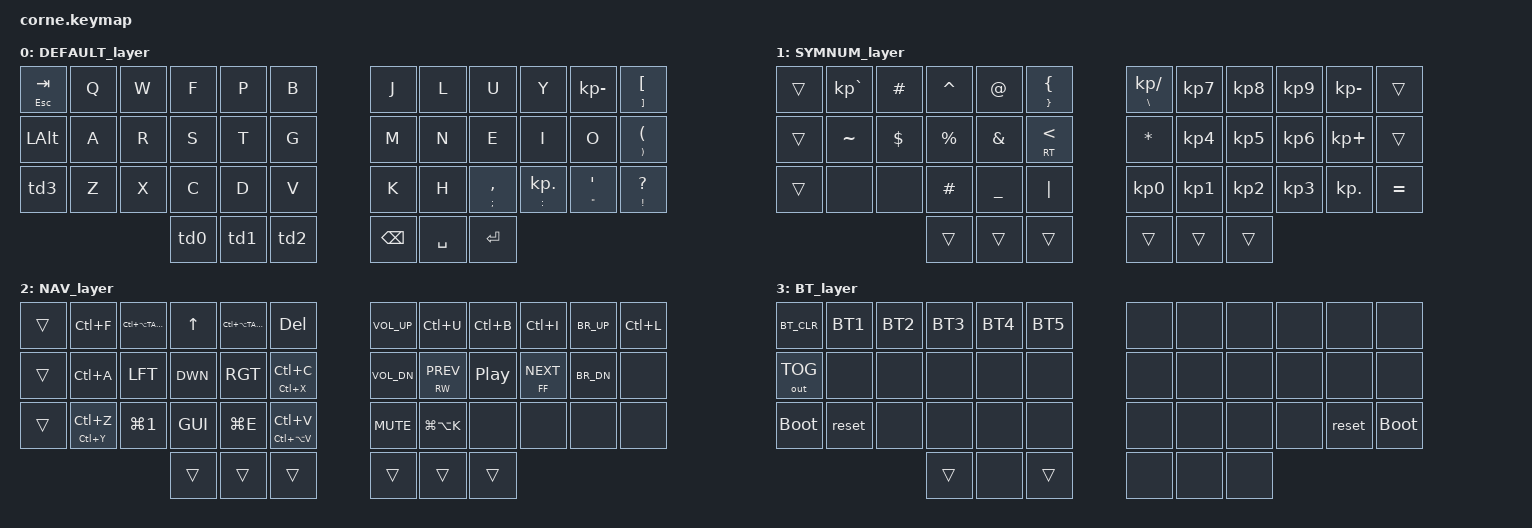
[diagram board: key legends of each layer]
/*
 * Copyright (c) 2020 The ZMK Contributors
 *
 * SPDX-License-Identifier: MIT
 */

#include <behaviors.dtsi>
#include <dt-bindings/zmk/keys.h>
#include <dt-bindings/zmk/bt.h>
#include <dt-bindings/zmk/outputs.h>

#define DEFAULT 0
#define SYMNUM  1
#define NAV     2
#define BT      3



/ {
        behaviours {
                &mt {
                    flavor = "tap-preferred";
                    //tapping_term_ms = <200>;
                };
                lsdot: leftshift_dot {
                    compatible = "zmk,behavior-mod-morph";
                    label = "LS_DOT";
                    #binding-cells = <0>;
                    bindings = <&kp DOT>, <&kp DOT>;
                    mods = <(MOD_LSFT)>;
                };
                td0: tap_dance_0 {
                    compatible = "zmk,behavior-tap-dance";
                    label = "TAP_DANCE_0";
                    #binding-cells = <0>;
                    tapping-term-ms = <200>;
                    bindings = <&mo SYMNUM>, <&tog SYMNUM>;
                };
                td1: tap_dance_1 {
                    compatible = "zmk,behavior-tap-dance";
                    label = "TAP_DANCE_1";
                    #binding-cells = <0>;
                    tapping-term-ms = <200>;
                    bindings = <&kp LSHFT>, <&kp CAPS>;
                };
                td2: tap_dance_2 {
                    compatible = "zmk,behavior-tap-dance";
                    label = "TAP_DANCE_2";
                    #binding-cells = <0>;
                    tapping-term-ms = <200>;
                    bindings = <&mo NAV>, <&tog NAV>;
                };
                td3: tap_dance_3 {
                    compatible = "zmk,behavior-tap-dance";
                    label = "TAP_DANCE_3";
                    #binding-cells = <0>;
                    tapping-term-ms = <200>;
                    bindings = <&kp CTRL>, <&kp LG(D)>;
                };
            };
        conditional_layers {
                compatible = "zmk,conditional-layers";
                BT {
                if-layers = <1 2>;
                then-layer = <3>;
                };
            };

        keymap {
                compatible = "zmk,keymap";

                DEFAULT_layer {
// -----------------------------------------------------------------------------------------
// |  TAB |  Q  |  W  |  F   |  P  |  B  |   |  J  |  L   |  U  |  Y  |  -  |  [   |
// |  ALT |  A  |  R  |  S   |  T  |  G  |   |  M  |  N   |  E  |  I  |  O  |  (   |
// | CTRL |  Z  |  X  |  C   |  D  |  V  |   |  K  |  H   |  ,  |  .  |  '  |  ?   |
//                    |SYMNUM| SHFT| NAV |   |BSPC | SPC  | ENT |
                        bindings = <
   &mt ESC TAB  &kp Q    &kp W    &kp F    &kp P    &kp B         &kp J      &kp L    &kp U             &kp Y             &kp KP_MINUS    &mt RBKT LBKT
   &kp LALT     &kp A    &kp R    &kp S    &kp T    &kp G         &kp M      &kp N    &kp E             &kp I             &kp O           &mt RPAR LPAR
   &td3         &kp Z    &kp X    &kp C    &kp D    &kp V         &kp K      &kp H    &mt SEMI COMMA    &mt COLON KP_DOT  &mt DQT SQT     &mt EXCL QMARK
                                  &td0     &td1     &td2          &kp BSPC   &kp SPC  &kp RET
                        >;
                };
                SYMNUM_layer {
// -----------------------------------------------------------------------------------------
// |  TAB |  `  |  £  |  ^  |  @  |  {  |   | /   | 7   | 8   | 9   |  -  |  [  |
// |  ALT |  ~  |  $  |  %  |  &  |  <  |   | *   | 4   | 5   | 6   |  +  |  (  |
// | CTRL |     |     |  #  |  _  | "|" |   | 0   | 1   | 2   | 3   |  .  |  =  |
//                    | NUM |SHFT | NAV |   |BCKSP| SPC | ENT |
                        bindings = <
   &trans    &kp KP_GRAVE  &kp POUND   &kp CARET  &kp AT      &mt RBRC LBRC         &mt BSLH KP_FSLH     &kp KP_N7   &kp KP_N8   &kp KP_N9    &kp KP_MINUS   &trans
   &trans    &kp TILDE     &kp DLLR    &kp PRCNT  &kp AMPS    &mt RT LT             &kp MULTIPLY         &kp KP_N4   &kp KP_N5   &kp KP_N6    &kp KP_PLUS    &trans
   &trans    &none         &none       &kp HASH   &kp UNDER   &kp PIPE              &kp KP_N0            &kp KP_N1   &kp KP_N2   &kp KP_N3    &kp KP_DOT     &kp EQUAL
                                       &trans     &trans      &trans                &trans               &trans      &trans
                        >;
                };
                NAV_layer {
// -----------------------------------------------------------------------------------------
// | TAB  |FIND |PRVAPP| UP   |NXTAPP|DEL  |   |VOL+ |LC+U |LC+B |LC+I| BR+ |LOCK|
// | CTRL |ALL  |LEFT  | DOWN |RIGHT |COPY |   |VOL- |RWND |PLAY |FFWD| BR- |    |
// | SHFT |UNDO |WIN+1 | WIN  |WIN+E |PASTE|   |MUTE |     |     |    |     |    |
//                     | NUM  | SHFT |NAV  |   |BCKSP| SPC | ENT |
                        bindings = <
   &trans    &kp LC(F)        &kp LC(LA(TAB(LFT)))  &kp UP     &kp LC(LA(TAB(RGT))) &kp DEL                     &kp C_VOL_UP    &kp LC(U)        &kp LC(B)  &kp LC(I)        &kp C_BR_UP  &kp LC(L)
   &trans    &kp LC(A)        &kp LFT               &kp DWN    &kp RGT              &mt LC(X) LC(C)             &kp C_VOL_DN    &mt C_RW C_PREV  &kp C_PP   &mt C_FF C_NEXT  &kp C_BR_DN  &none 
   &trans    &mt LC(Y) LC(Z)  &kp LG(N1)            &kp GUI    &kp LG(E)            &mt LC(LA(V)) LC(V)         &kp C_MUTE      &kp LG(LA(K))    &none      &none            &none        &none 
                    	                            &trans     &trans               &trans                      &trans          &trans           &trans
                        >;
                };
                BT_layer {
// -----------------------------------------------------------------------------------------
// |BTCLR | BT1 | BT2 | BT3 | BT4 | BT5 |   |     |     |     |     |     |      |
// |BT_TOG|     |     |     |     |     |   |     |     |     |     |     |      |
// |      |     |     |     |     |     |   |     |     |     |     |     |      |
//                    |     |     |     |   |     |     |     |
                        bindings = <
   &BT_CLR       &BT1   &BT2   &BT3   &BT4   &BT5   &none &none &none &none &none  &none 
   &out OUT_TOG  &none  &none  &none  &none  &none  &none &none &none &none &none  &none
   &bootloader   &reset &none  &none  &none  &none  &none &none &none &none &reset &bootloader
                        &trans &none  &trans &none  &none &none
                         >;
                };
};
